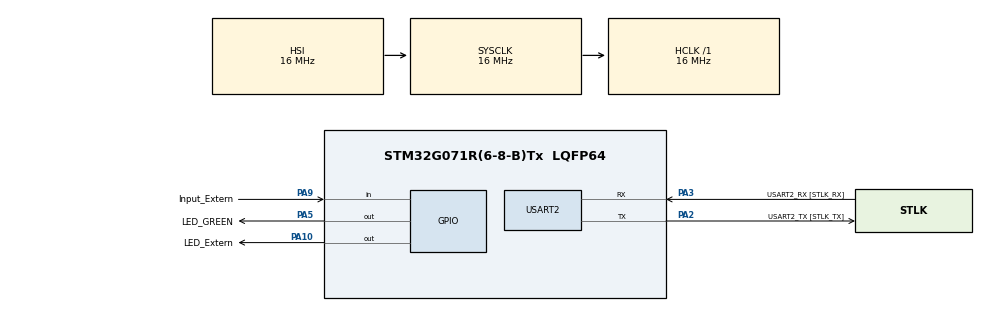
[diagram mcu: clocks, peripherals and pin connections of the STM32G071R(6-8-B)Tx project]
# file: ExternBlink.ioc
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Mcu.Family=STM32G0
Mcu.Name=STM32G071R(6-8-B)Tx
Mcu.Package=LQFP64
PA10.GPIO_Label=LED_Extern
PA10.Signal=GPIO_Output
PA13.GPIO_Label=TMS
PA13.Mode=Serial_Wire
PA13.Signal=SYS_SWDIO
PA14-BOOT0.GPIO_Label=TCK
PA14-BOOT0.Mode=Serial_Wire
PA14-BOOT0.Signal=SYS_SWCLK
PA2.GPIO_Label=USART2_TX [STLK_TX]
PA2.GPIO_PuPd=GPIO_PULLUP
PA2.Mode=Asynchronous
PA2.Signal=USART2_TX
PA3.GPIO_Label=USART2_RX [STLK_RX]
PA3.GPIO_PuPd=GPIO_PULLUP
PA3.Mode=Asynchronous
PA3.Signal=USART2_RX
PA5.GPIO_Label=LED_GREEN
PA5.GPIO_Speed=GPIO_SPEED_FREQ_HIGH
PA5.Signal=GPIO_Output
PA9.GPIO_Label=Input_Extern
PA9.Signal=GPIO_Input
PC13.Mode=SYS_WakeUp1
PC13.Signal=SYS_WKUP2
PC14-OSC32_IN\ (PC14).Mode=LSE-External-Oscillator
PC14-OSC32_IN\ (PC14).Signal=RCC_OSC32_IN
PC15-OSC32_OUT\ (PC15).Mode=LSE-External-Oscillator
PC15-OSC32_OUT\ (PC15).Signal=RCC_OSC32_OUT
PF0-OSC_IN\ (PF0).GPIO_Label=MCO
PF0-OSC_IN\ (PF0).Mode=HSE-External-Clock-Source
PF0-OSC_IN\ (PF0).Signal=RCC_OSC_IN
ProjectManager.HeapSize=0x200
ProjectManager.StackSize=0x400
ProjectManager.TargetToolchain=STM32CubeIDE
RCC.AHBFreq_Value=16000000
RCC.CortexFreq_Value=16000000
RCC.EXTERNAL_CLOCK_VALUE=12288000
RCC.HCLKFreq_Value=16000000
RCC.HSE_VALUE=8000000
RCC.HSI_VALUE=16000000
RCC.SYSCLKFreq_VALUE=16000000
RCC.VCOOutputFreq_Value=128000000
USART2.VirtualMode-Asynchronous=VM_ASYNC
board=NUCLEO-G071RB

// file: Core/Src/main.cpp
/* USER CODE BEGIN Header */
/**
  ******************************************************************************
  * @file           : main.cpp
  * @brief          : Main program body
  ******************************************************************************
  * @attention
  *
  * Copyright (c) 2025 STMicroelectronics.
  * All rights reserved.
  *
  * This software is licensed under terms that can be found in the LICENSE file
  * in the root directory of this software component.
  * If no LICENSE file comes with this software, it is provided AS-IS.
  *
  ******************************************************************************
  */
/* USER CODE END Header */
#include "../Inc/main.h"

UART_HandleTypeDef huart2;

void SystemClock_Config(void);
static void MX_GPIO_Init(void);
static void MX_USART2_UART_Init(void);
/* USER CODE BEGIN PFP */
int getButtonState();
void pushButton();
void toggleLED();
/* USER CODE END PFP */

int main(void)
{

  /* USER CODE BEGIN 1 */
	Output_stm32 my_output(LED_Extern_Pin,
			GPIO_MODE_OUTPUT_PP,
			GPIO_NOPULL,
			GPIO_SPEED_FREQ_LOW,
			0,
			LED_Extern_GPIO_Port,
			false);
  /* USER CODE END 1 */

  /* MCU Configuration--------------------------------------------------------*/

  /* Reset of all peripherals, Initializes the Flash interface and the Systick. */
  HAL_Init();

  /* Configure the system clock */
  SystemClock_Config();

  /* Initialize all configured peripherals */
  //MX_GPIO_Init();
  MX_USART2_UART_Init();
  /* USER CODE BEGIN 2 */
  my_output.init();
  /* USER CODE END 2 */

  /* Infinite loop */
  while (1)
  {
	  my_output.toggle();
	  HAL_Delay(1000);
  }
}

void SystemClock_Config(void)
{
  RCC_OscInitTypeDef RCC_OscInitStruct = {0};
  RCC_ClkInitTypeDef RCC_ClkInitStruct = {0};

  /** Configure the main internal regulator output voltage
  */
  HAL_PWREx_ControlVoltageScaling(PWR_REGULATOR_VOLTAGE_SCALE1);

  /** Initializes the RCC Oscillators according to the specified parameters
  * in the RCC_OscInitTypeDef structure.
  */
  RCC_OscInitStruct.OscillatorType = RCC_OSCILLATORTYPE_HSI;
  RCC_OscInitStruct.HSIState = RCC_HSI_ON;
  RCC_OscInitStruct.HSIDiv = RCC_HSI_DIV1;
  RCC_OscInitStruct.HSICalibrationValue = RCC_HSICALIBRATION_DEFAULT;
  RCC_OscInitStruct.PLL.PLLState = RCC_PLL_NONE;
  if (HAL_RCC_OscConfig(&RCC_OscInitStruct) != HAL_OK)
  {
    Error_Handler();
  }

  /** Initializes the CPU, AHB and APB buses clocks
  */
  RCC_ClkInitStruct.ClockType = RCC_CLOCKTYPE_HCLK|RCC_CLOCKTYPE_SYSCLK
                              |RCC_CLOCKTYPE_PCLK1;
  RCC_ClkInitStruct.SYSCLKSource = RCC_SYSCLKSOURCE_HSI;
  RCC_ClkInitStruct.AHBCLKDivider = RCC_SYSCLK_DIV1;
  RCC_ClkInitStruct.APB1CLKDivider = RCC_HCLK_DIV1;

  if (HAL_RCC_ClockConfig(&RCC_ClkInitStruct, FLASH_LATENCY_0) != HAL_OK)
  {
    Error_Handler();
  }
}

static void MX_USART2_UART_Init(void)
{

  huart2.Instance = USART2;
  huart2.Init.BaudRate = 115200;
  huart2.Init.WordLength = UART_WORDLENGTH_8B;
  huart2.Init.StopBits = UART_STOPBITS_1;
  huart2.Init.Parity = UART_PARITY_NONE;
  huart2.Init.Mode = UART_MODE_TX_RX;
  huart2.Init.HwFlowCtl = UART_HWCONTROL_NONE;
  huart2.Init.OverSampling = UART_OVERSAMPLING_16;
  huart2.Init.OneBitSampling = UART_ONE_BIT_SAMPLE_DISABLE;
  huart2.Init.ClockPrescaler = UART_PRESCALER_DIV1;
  huart2.AdvancedInit.AdvFeatureInit = UART_ADVFEATURE_NO_INIT;
  if (HAL_UART_Init(&huart2) != HAL_OK)
  {
    Error_Handler();
  }
  if (HAL_UARTEx_SetTxFifoThreshold(&huart2, UART_TXFIFO_THRESHOLD_1_8) != HAL_OK)
  {
    Error_Handler();
  }
  if (HAL_UARTEx_SetRxFifoThreshold(&huart2, UART_RXFIFO_THRESHOLD_1_8) != HAL_OK)
  {
    Error_Handler();
  }
  if (HAL_UARTEx_DisableFifoMode(&huart2) != HAL_OK)
  {
    Error_Handler();
  }

}

static void MX_GPIO_Init(void)
{
  GPIO_InitTypeDef GPIO_InitStruct = {0};

  /* GPIO Ports Clock Enable */
  __HAL_RCC_GPIOC_CLK_ENABLE();
  __HAL_RCC_GPIOF_CLK_ENABLE();
  __HAL_RCC_GPIOA_CLK_ENABLE();

  /*Configure GPIO pin Output Level */
  HAL_GPIO_WritePin(GPIOA, LED_GREEN_Pin|LED_Extern_Pin, GPIO_PIN_RESET);

  /*Configure GPIO pin : LED_GREEN_Pin */
  GPIO_InitStruct.Pin = LED_GREEN_Pin;
  GPIO_InitStruct.Mode = GPIO_MODE_OUTPUT_PP;
  GPIO_InitStruct.Pull = GPIO_NOPULL;
  GPIO_InitStruct.Speed = GPIO_SPEED_FREQ_HIGH;
  HAL_GPIO_Init(LED_GREEN_GPIO_Port, &GPIO_InitStruct);

  /*Configure GPIO pin : Input_Extern_Pin */
  GPIO_InitStruct.Pin = Input_Extern_Pin;
  GPIO_InitStruct.Mode = GPIO_MODE_INPUT;
  GPIO_InitStruct.Pull = GPIO_NOPULL;
  HAL_GPIO_Init(Input_Extern_GPIO_Port, &GPIO_InitStruct);

  /*Configure GPIO pin : LED_Extern_Pin */
  GPIO_InitStruct.Pin = LED_Extern_Pin;
  GPIO_InitStruct.Mode = GPIO_MODE_OUTPUT_PP;
  GPIO_InitStruct.Pull = GPIO_NOPULL;
  GPIO_InitStruct.Speed = GPIO_SPEED_FREQ_LOW;
  HAL_GPIO_Init(LED_Extern_GPIO_Port, &GPIO_InitStruct);

}

/* USER CODE BEGIN 4 */
int getButtonState()
{
	return HAL_GPIO_ReadPin(Input_Extern_GPIO_Port, Input_Extern_Pin);
}

void pushButton()
{
	//int buttonStatePushed = getButtonState();
	if (getButtonState()) {
		HAL_GPIO_WritePin(LED_Extern_GPIO_Port, LED_Extern_Pin, GPIO_PIN_RESET);
	} else {
		HAL_GPIO_WritePin(LED_Extern_GPIO_Port, LED_Extern_Pin, GPIO_PIN_SET);
	}
}

void toggleLED()
{
	HAL_GPIO_TogglePin(LED_Extern_GPIO_Port, LED_Extern_Pin);
	HAL_Delay(1500);
}
/* USER CODE END 4 */

void Error_Handler(void)
{
  __disable_irq();
  while (1)
  {
  }
}
